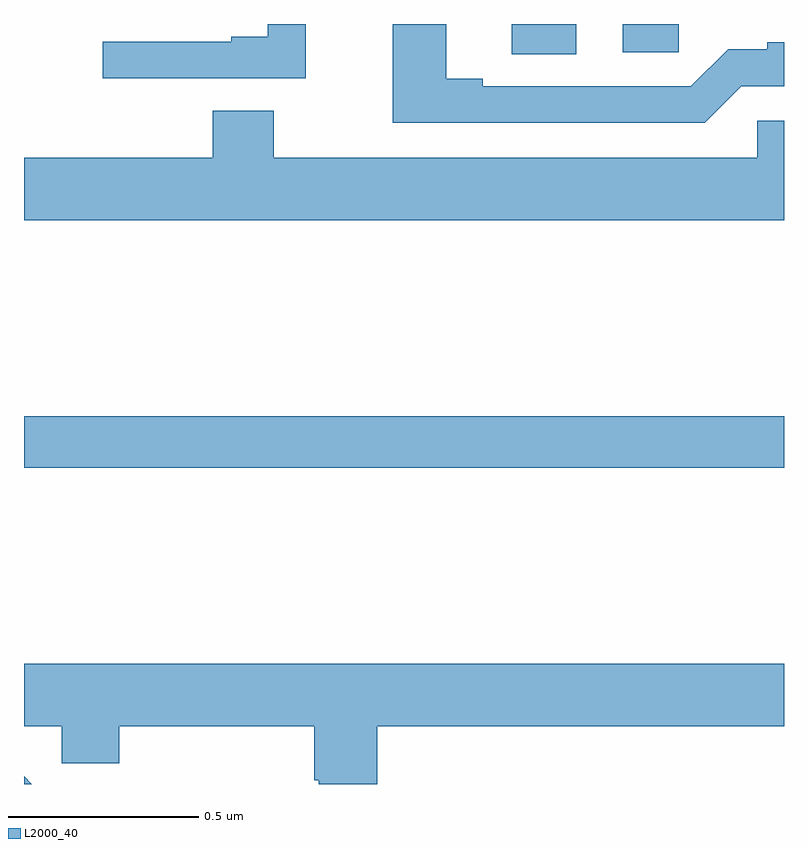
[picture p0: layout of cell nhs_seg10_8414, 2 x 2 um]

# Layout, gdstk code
import gdstk
lib = gdstk.Library(unit=1e-6, precision=1e-09)
def R(c, l, rs):  # rectangles x0, y0, x1, y1
    for r in rs: c.add(gdstk.rectangle(r[:2], r[2:], *l))
def P(c, l, *ps):  # polygons
    for p in ps: c.add(gdstk.Polygon(p, *l))
L2000_40 = (2000, 40)

nhs_seg10_8414 = lib.new_cell('nhs_seg10_8414')
R(nhs_seg10_8414, L2000_40, [(216,1298.332,218,1298.468), (217.283,1299.421,217.453,1299.5), (217.575,1299.426,217.723,1299.5)])
P(nhs_seg10_8414, L2000_40, [(216.741,1299.5),(216.641,1299.5),(216.641,1299.466),(216.545,1299.466),(216.545,1299.453),(216.207,1299.453),(216.207,1299.357),(216.741,1299.357)],
  [(217.887,1299.336),(218,1299.336),(218,1299.452),(217.956,1299.452),(217.956,1299.434),(217.853,1299.434),(217.755,1299.336),(217.207,1299.336),(217.207,1299.356),(217.111,1299.356),(217.111,1299.5),(216.971,1299.5),(216.971,1299.24),(217.791,1299.24)],
  [(216.497,1299.272),(216.497,1299.148),(216,1299.148),(216,1298.984),(218,1298.984),(218,1299.246),(217.929,1299.246),(217.929,1299.148),(216.657,1299.148),(216.657,1299.272)],
  [(216.929,1297.652),(218,1297.652),(218,1297.816),(216,1297.816),(216,1297.652),(216.099,1297.652),(216.099,1297.554),(216.251,1297.554),(216.251,1297.652),(216.764,1297.652),(216.764,1297.51),(216.776,1297.51),(216.776,1297.5),(216.929,1297.5)],
  [(216,1297.521),(216,1297.5),(216.021,1297.5)])

lib.write_gds('nhs_seg10_8414.gds')
